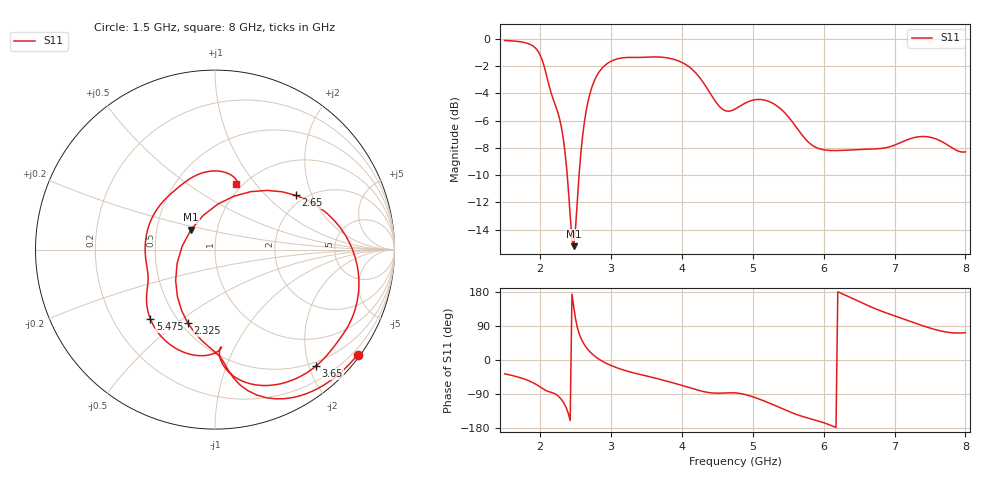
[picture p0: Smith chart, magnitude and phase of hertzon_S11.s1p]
! Generated by Hertzon (EMerge FEM)
# HZ S RI R 50
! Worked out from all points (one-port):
!   261 points, 1.5 GHz to 8 GHz, reference 50 ohm
!   lowest |S11| = -15.2 dB at 2.475 GHz (marker M1), VSWR 1.42, Z = 37.4 + j8.52 ohm
!   |S11| at or under -10 dB: 2.383 GHz to 2.55 GHz (167 MHz wide, 6.77 % of centre)
!   S11 on the Smith chart (normalised r, x): 1.5 GHz: 0.07, -3.04; 2.325 GHz: 0.54, -0.55; 2.65 GHz: 1.80, +1.54; 3.65 GHz: 0.43, -2.12; 5.475 GHz: 0.36, -0.39; 8 GHz: 0.94, +0.80
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1.5e9  0.7943 -0.5859
1.775e9  0.6234 -0.7439
1.975e9  0.339 -0.8316
2.1e9  0.1009 -0.7125
2.325e9  -0.1524 -0.4076
2.4e9  -0.2192 -0.1729
2.45e9  -0.1828 0.0194
2.475e9  -0.1336 0.1106
2.55e9  0.106 0.2978
2.65e9  0.4513 0.3021
2.725e9  0.6261 0.2003
2.825e9  0.75 0.0371
3.125e9  0.7801 -0.335
3.65e9  0.5632 -0.6481
3.95e9  0.3607 -0.7484
4.15e9  0.1935 -0.7467
4.35e9  0.057 -0.6601
4.575e9  0.0279 -0.551
4.75e9  0.0321 -0.5516
5.125e9  -0.1599 -0.5769
5.475e9  -0.3607 -0.3852
5.575e9  -0.3795 -0.3096
5.9e9  -0.3733 -0.1402
6.375e9  -0.3781 0.1004
6.725e9  -0.2818 0.2762
7.2e9  -0.0996 0.4165
7.65e9  0.0965 0.4109
8e9  0.1187 0.3662
